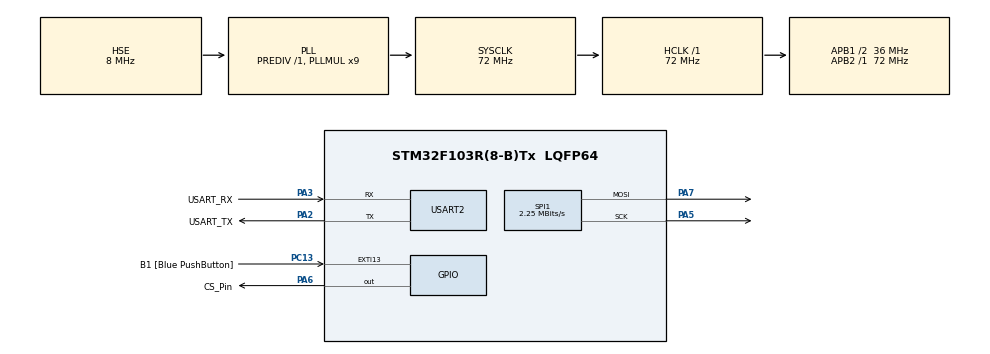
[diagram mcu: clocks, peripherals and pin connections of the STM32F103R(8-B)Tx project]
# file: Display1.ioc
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Mcu.Family=STM32F1
Mcu.Name=STM32F103R(8-B)Tx
Mcu.Package=LQFP64
NVIC.EXTI15_10_IRQn=true\:0\:0\:false\:false\:true\:true\:true\:true
NVIC.PriorityGroup=NVIC_PRIORITYGROUP_4
PA13.GPIO_Label=TMS
PA13.Mode=Serial_Wire
PA13.Signal=SYS_JTMS-SWDIO
PA14.GPIO_Label=TCK
PA14.Mode=Serial_Wire
PA14.Signal=SYS_JTCK-SWCLK
PA2.GPIO_Label=USART_TX
PA2.GPIO_Mode=GPIO_MODE_AF_PP
PA2.GPIO_PuPd=GPIO_NOPULL
PA2.GPIO_Speed=GPIO_SPEED_FREQ_LOW
PA2.Mode=Asynchronous
PA2.Signal=USART2_TX
PA3.GPIO_Label=USART_RX
PA3.GPIO_Mode=GPIO_MODE_AF_PP
PA3.GPIO_PuPd=GPIO_NOPULL
PA3.GPIO_Speed=GPIO_SPEED_FREQ_LOW
PA3.Mode=Asynchronous
PA3.Signal=USART2_RX
PA5.Mode=TX_Only_Simplex_Unidirect_Master
PA5.Signal=SPI1_SCK
PA6.GPIO_Label=CS_Pin
PA6.Signal=GPIO_Output
PA7.Mode=TX_Only_Simplex_Unidirect_Master
PA7.Signal=SPI1_MOSI
PB3.GPIO_Label=SWO
PB3.Signal=SYS_JTDO-TRACESWO
PC13-TAMPER-RTC.GPIO_Label=B1 [Blue PushButton]
PC13-TAMPER-RTC.GPIO_ModeDefaultEXTI=GPIO_MODE_IT_RISING
PC13-TAMPER-RTC.GPIO_PuPd=GPIO_NOPULL
PC13-TAMPER-RTC.Signal=GPXTI13
PC14-OSC32_IN.Mode=LSE-External-Oscillator
PC14-OSC32_IN.Signal=RCC_OSC32_IN
PC15-OSC32_OUT.Mode=LSE-External-Oscillator
PC15-OSC32_OUT.Signal=RCC_OSC32_OUT
PD0-OSC_IN.Mode=HSE-External-Clock-Source
PD0-OSC_IN.Signal=RCC_OSC_IN
PD1-OSC_OUT.Mode=HSE-External-Clock-Source
PD1-OSC_OUT.Signal=RCC_OSC_OUT
ProjectManager.HeapSize=0x200
ProjectManager.StackSize=0x400
ProjectManager.TargetToolchain=STM32CubeIDE
RCC.AHBFreq_Value=72000000
RCC.APB1CLKDivider=RCC_HCLK_DIV2
RCC.APB1Freq_Value=36000000
RCC.APB1TimFreq_Value=72000000
RCC.APB2Freq_Value=72000000
RCC.APB2TimFreq_Value=72000000
RCC.HCLKFreq_Value=72000000
RCC.PLLMUL=RCC_PLL_MUL9
RCC.PLLSourceVirtual=RCC_PLLSOURCE_HSE
RCC.RTCClockSelection=RCC_RTCCLKSOURCE_LSE
RCC.SYSCLKFreq_VALUE=72000000
RCC.SYSCLKSource=RCC_SYSCLKSOURCE_PLLCLK
RCC.USBFreq_Value=72000000
SPI1.BaudRatePrescaler=SPI_BAUDRATEPRESCALER_32
SPI1.CalculateBaudRate=2.25 MBits/s
SPI1.Direction=SPI_DIRECTION_2LINES
SPI1.Mode=SPI_MODE_MASTER
SPI1.VirtualType=VM_MASTER
USART2.VirtualMode=VM_ASYNC
board=NUCLEO-F103RB

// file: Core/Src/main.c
/* USER CODE BEGIN Header */
/**
  ******************************************************************************
  * @file           : main.c
  * @brief          : Main program body
  ******************************************************************************
  * @attention
  *
  * Copyright (c) 2023 STMicroelectronics.
  * All rights reserved.
  *
  * This software is licensed under terms that can be found in the LICENSE file
  * in the root directory of this software component.
  * If no LICENSE file comes with this software, it is provided AS-IS.
  *
  ******************************************************************************
  */
/* USER CODE END Header */
#include "main.h"
#include "spi.h"
#include "usart.h"
#include "gpio.h"
#include "max7219.h"

void SystemClock_Config(void);
/* USER CODE BEGIN PFP */
uint8_t buttonStatus = RESET;
int64_t buttonCounter = 0;
/* USER CODE END PFP */

int main(void)
{

  /* MCU Configuration--------------------------------------------------------*/

  /* Reset of all peripherals, Initializes the Flash interface and the Systick. */
  HAL_Init();

  /* Configure the system clock */
  SystemClock_Config();

  /* Initialize all configured peripherals */
  MX_GPIO_Init();
  MX_USART2_UART_Init();
  MX_SPI1_Init();
  /* USER CODE BEGIN 2 */
   max7219_Init(7);
   max7219_Decode_On();
  /* USER CODE END 2 */

  /* Infinite loop */
  while (1)
  {

    /* USER CODE BEGIN 3 */
	  buttonStatus = HAL_GPIO_ReadPin(GPIOC, B1_Pin);
	  		if (!buttonStatus)	{
	  			buttonCounter++;
	  		}

	  		HAL_Delay(200);
	  		max7219_PrintItos(DIGIT_8, 87654321);
	  		HAL_Delay(2000);
	  		max7219_Clean();
	  		max7219_PrintFtos(DIGIT_8, -3.14, 2);
	  		HAL_Delay(2000);
	  		max7219_Clean();
	  		max7219_PrintNtos(DIGIT_8, 9999, 4);
	  		HAL_Delay(2000);
	  		max7219_Clean();
	  		max7219_PrintNtos(DIGIT_8, 9999, 8);
			HAL_Delay(2000);
			max7219_Clean();
	  		max7219_PrintItos(DIGIT_8, buttonCounter);
	  		HAL_Delay(2000);
	  		max7219_Clean();
  }
  /* USER CODE END 3 */
}

void SystemClock_Config(void)
{
  RCC_OscInitTypeDef RCC_OscInitStruct = {0};
  RCC_ClkInitTypeDef RCC_ClkInitStruct = {0};

  /** Initializes the RCC Oscillators according to the specified parameters
  * in the RCC_OscInitTypeDef structure.
  */
  RCC_OscInitStruct.OscillatorType = RCC_OSCILLATORTYPE_HSE;
  RCC_OscInitStruct.HSEState = RCC_HSE_BYPASS;
  RCC_OscInitStruct.HSEPredivValue = RCC_HSE_PREDIV_DIV1;
  RCC_OscInitStruct.HSIState = RCC_HSI_ON;
  RCC_OscInitStruct.PLL.PLLState = RCC_PLL_ON;
  RCC_OscInitStruct.PLL.PLLSource = RCC_PLLSOURCE_HSE;
  RCC_OscInitStruct.PLL.PLLMUL = RCC_PLL_MUL9;
  if (HAL_RCC_OscConfig(&RCC_OscInitStruct) != HAL_OK)
  {
    Error_Handler();
  }

  /** Initializes the CPU, AHB and APB buses clocks
  */
  RCC_ClkInitStruct.ClockType = RCC_CLOCKTYPE_HCLK|RCC_CLOCKTYPE_SYSCLK
                              |RCC_CLOCKTYPE_PCLK1|RCC_CLOCKTYPE_PCLK2;
  RCC_ClkInitStruct.SYSCLKSource = RCC_SYSCLKSOURCE_PLLCLK;
  RCC_ClkInitStruct.AHBCLKDivider = RCC_SYSCLK_DIV1;
  RCC_ClkInitStruct.APB1CLKDivider = RCC_HCLK_DIV2;
  RCC_ClkInitStruct.APB2CLKDivider = RCC_HCLK_DIV1;

  if (HAL_RCC_ClockConfig(&RCC_ClkInitStruct, FLASH_LATENCY_2) != HAL_OK)
  {
    Error_Handler();
  }
}

/* USER CODE BEGIN 4 */
void HAL_GPIO_EXTI_Callback(uint16_t GPIO_Pin)
{
  /* Prevent unused argument(s) compilation warning */
  UNUSED(GPIO_Pin);
  /* NOTE: This function Should not be modified, when the callback is needed,
           the HAL_GPIO_EXTI_Callback could be implemented in the user file
   */
}
/* USER CODE END 4 */

void Error_Handler(void)
{
  __disable_irq();
  while (1)
  {
  }
}
